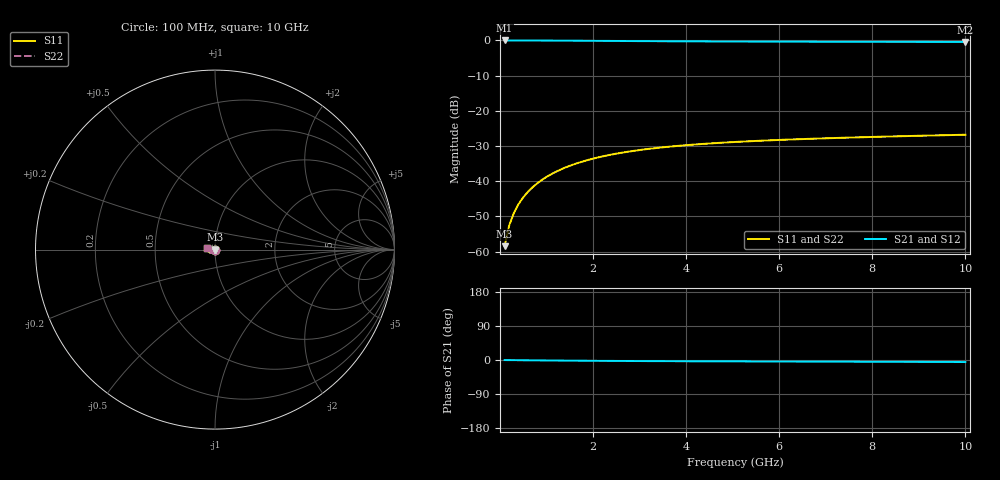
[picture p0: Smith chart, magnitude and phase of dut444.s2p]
! Touchstone file exported from HFSS 2024.1.0
!  File:  C:/UserFiles/LocalFiles/RDL_TSV_Batchsim/temp_TSV1_444_1779695504.aedt
!  Generated:  03:58:27 PM May 25, 2026
!  Design:  TSV1
!  Project:  temp_TSV1_444_1779695504
!  Setup:  Setup1
!  Solution:  Sweep
! Variables:
!  dtsv = 9.67um
!  hbump = 3um
!  htsv = 82.68um
!  lrdl = 252.1521522um
!  p = 40
!  p1 = 52.19um
!  t = 500um
!  trdl = 3um
!  wrdl = 24.89489489um
# GHz S MA R 50.000000
! Terminal data exported
! Port[1] = TSV22_T1
! Port[2] = TSV22_T2
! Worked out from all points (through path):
!   100 points, 100 MHz to 10 GHz, reference 50 ohm
!   highest |S21| = 0.00 dB at 100 MHz (marker M1); lowest = -0.4 dB at 10 GHz (marker M2)
!   lowest |S11| = -58.5 dB at 100 MHz (marker M3), VSWR 1.00, Z = 50 - j0.118 ohm
!   |S11| at or under -10 dB: start of sweep to end of sweep
!   |S22| runs from -58.5 to -26.8 dB; largest |S21 - S12| = 5e-15
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0.1  0.001191 -84.3  0.9998 -0.1  0.9998 -0.1  0.001191 -84.3
! Gamma 0 0 0 0
! Port Impedance 50 0 50 0
0.2  0.002367 -89.8  0.9997 -0.3  0.9997 -0.3  0.002367 -89.8
0.3  0.003546 -92.9  0.9995 -0.4  0.9995 -0.4  0.003546 -92.9
0.4  0.004721 -95.4  0.9992 -0.5  0.9992 -0.5  0.004721 -95.4
0.5  0.005887 -97.6  0.9988 -0.6  0.9988 -0.6  0.005887 -97.6
0.6  0.007041 -99.8  0.9984 -0.7  0.9984 -0.7  0.007041 -99.8
0.7  0.00818 -101.8  0.9979 -0.9  0.9979 -0.9  0.00818 -101.8
0.8  0.009301 -103.8  0.9973 -1.0  0.9973 -1.0  0.009301 -103.8
0.9  0.0104 -105.8  0.9967 -1.1  0.9967 -1.1  0.0104 -105.8
1.1  0.01254 -109.5  0.9954 -1.3  0.9954 -1.3  0.01254 -109.5
1.4  0.01556 -114.8  0.993 -1.6  0.993 -1.6  0.01556 -114.8
1.6  0.01745 -118.2  0.9913 -1.8  0.9913 -1.8  0.01745 -118.2
1.8  0.01922 -121.5  0.9895 -2.0  0.9895 -2.0  0.01922 -121.5
2.1  0.02168 -126.1  0.9868 -2.2  0.9868 -2.2  0.02168 -126.1
2.5  0.02459 -131.9  0.9832 -2.5  0.9832 -2.5  0.02459 -131.9
2.9  0.02711 -137.1  0.9798 -2.7  0.9798 -2.7  0.02711 -137.1
3.4  0.02979 -143.1  0.9758 -3.0  0.9758 -3.0  0.02979 -143.1
4.2  0.03322 -151.4  0.9703 -3.3  0.9703 -3.3  0.03322 -151.4
5.1  0.03619 -159.3  0.9655 -3.7  0.9655 -3.7  0.03619 -159.3
6.7  0.04006 -170.8  0.9593 -4.2  0.9593 -4.2  0.04006 -170.8
8.4  0.04317 179.4  0.955 -4.8  0.955 -4.8  0.04317 179.4
10  0.04568 171.6  0.9523 -5.3  0.9523 -5.3  0.04568 171.6
